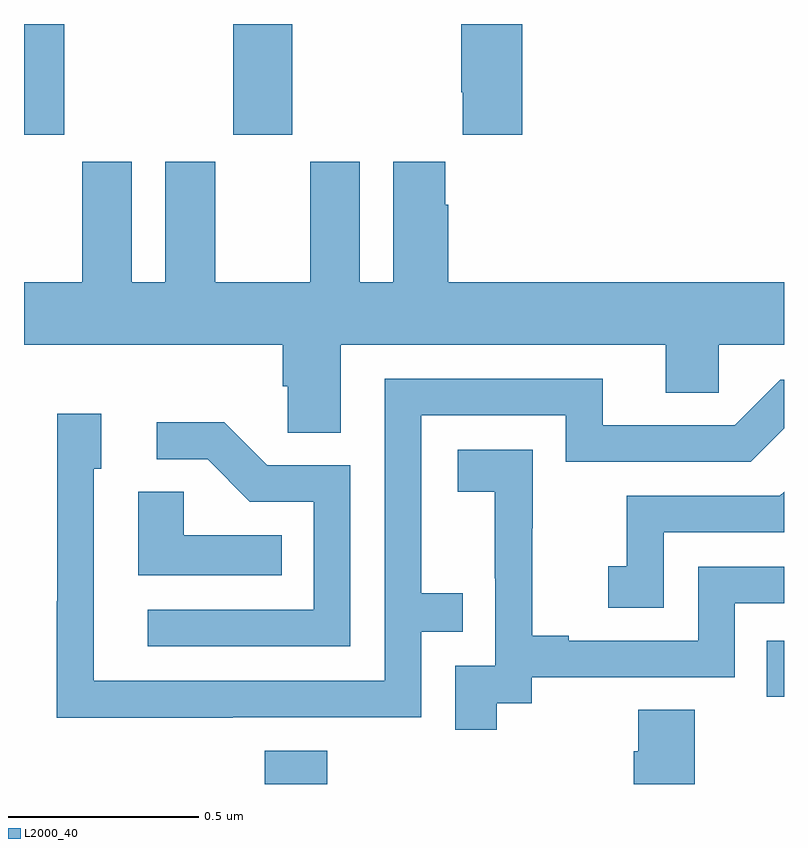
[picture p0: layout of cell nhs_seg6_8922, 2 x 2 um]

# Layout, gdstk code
import gdstk
lib = gdstk.Library(unit=1e-6, precision=1e-09)
def R(c, l, rs):  # rectangles x0, y0, x1, y1
    for r in rs: c.add(gdstk.rectangle(r[:2], r[2:], *l))
def P(c, l, *ps):  # polygons
    for p in ps: c.add(gdstk.Polygon(p, *l))
L2000_40 = (2000, 40)

nhs_seg6_8922 = lib.new_cell('nhs_seg6_8922')
R(nhs_seg6_8922, L2000_40, [(227.633,959.5,227.798,959.587), (228.955,959.73,229,959.877), (227,961.209,227.106,961.5), (227.551,961.209,227.706,961.5)])
P(nhs_seg6_8922, L2000_40, [(228.151,961.321),(228.155,961.321),(228.155,961.209),(228.311,961.209),(228.311,961.5),(228.151,961.5)],
  [(227.681,960.547),(227.694,960.547),(227.694,960.424),(227.833,960.424),(227.833,960.656),(228.689,960.656),(228.689,960.529),(228.828,960.529),(228.828,960.656),(229,960.656),(229,960.82),(228.116,960.82),(228.116,961.025),(228.109,961.025),(228.109,961.138),(227.972,961.138),(227.972,960.82),(227.884,960.82),(227.884,961.138),(227.753,961.138),(227.753,960.82),(227.503,960.82),(227.503,961.138),(227.372,961.138),(227.372,960.82),(227.284,960.82),(227.284,961.138),(227.153,961.138),(227.153,960.82),(227,960.82),(227,960.656),(227.681,960.656)],
  [(227.549,959.676),(228.045,959.676),(228.045,959.901),(228.155,959.901),(228.155,960.002),(228.045,960.002),(228.045,960.471),(228.426,960.471),(228.426,960.348),(228.912,960.348),(229,960.436),(229,960.564),(228.99,960.564),(228.87,960.444),(228.523,960.444),(228.523,960.567),(227.949,960.567),(227.949,959.772),(227.184,959.772),(227.184,960.33),(227.203,960.33),(227.203,960.475),(227.088,960.475),(227.088,959.981),(227.086,959.981),(227.086,959.675),(227.549,959.675)],
  [(227.859,960.339),(227.64,960.339),(227.527,960.452),(227.349,960.452),(227.349,960.354),(227.483,960.354),(227.594,960.243),(227.763,960.243),(227.763,959.958),(227.325,959.958),(227.325,959.862),(227.859,959.862)],
  [(228.244,959.713),(228.336,959.713),(228.336,959.781),(228.87,959.781),(228.87,959.976),(229,959.976),(229,960.072),(228.774,960.072),(228.774,959.877),(228.433,959.877),(228.433,959.89),(228.338,959.89),(228.338,960.173),(228.339,960.173),(228.339,960.379),(228.141,960.379),(228.141,960.269),(228.239,960.269),(228.239,960.041),(228.24,960.041),(228.24,959.811),(228.135,959.811),(228.135,959.643),(228.244,959.643)],
  [(228.684,960.162),(229,960.162),(229,960.269),(228.989,960.258),(228.586,960.258),(228.586,960.073),(228.537,960.073),(228.537,959.964),(228.684,959.964)],
  [(227.678,960.154),(227.421,960.154),(227.421,960.269),(227.3,960.269),(227.3,960.05),(227.678,960.05)],
  [(228.765,959.696),(228.617,959.696),(228.617,959.586),(228.605,959.586),(228.605,959.5),(228.765,959.5)])

lib.write_gds('nhs_seg6_8922.gds')
